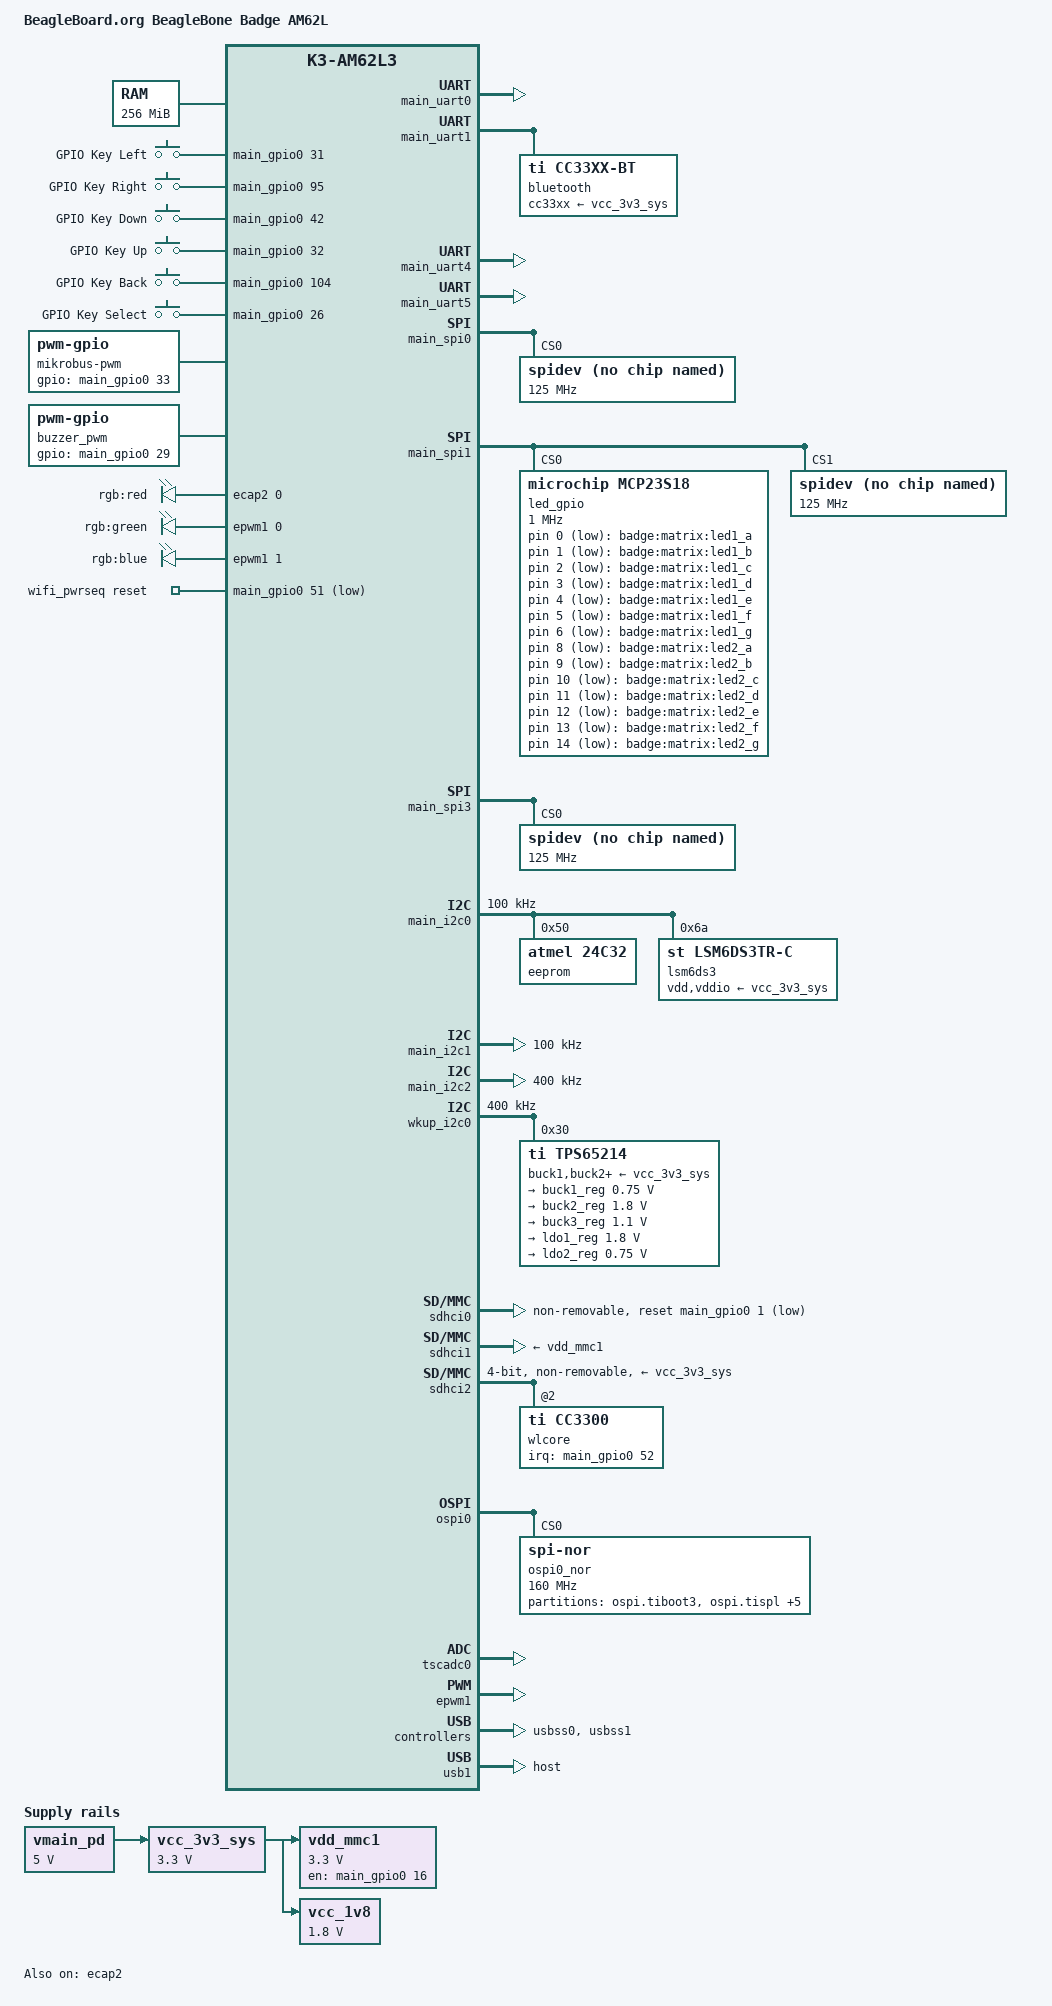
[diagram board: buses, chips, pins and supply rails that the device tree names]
// SPDX-License-Identifier: GPL-2.0-only or MIT
/*
 * Copyright (C) 2024 Texas Instruments Incorporated - https://www.ti.com/
 */

/dts-v1/;

#include <dt-bindings/gpio/gpio.h>
#include <dt-bindings/input/input.h>
#include <dt-bindings/leds/common.h>
#include <dt-bindings/net/ti-dp83867.h>
#include "k3-am62l3.dtsi"
#include "k3-pinctrl.h"

/ {
	compatible = "beagle,am62l3-beaglebadge", "ti,am62l3";
	model = "BeagleBoard.org BeagleBone Badge AM62L";

	aliases {
		mmc0 = &sdhci0;
		mmc1 = &sdhci1;
		mmc2 = &sdhci2;
		serial0 = &main_uart0;
		serial3 = &main_uart1;
		serial4 = &main_uart4;
		serial5 = &main_uart5;
	};

	chosen {
		stdout-path = &main_uart0;
	};

    memory@80000000 {
        reg = <0x00000000 0x80000000 0x00000000 0x10000000>;
		device_type = "memory";
		bootph-all;
	};

	led_matrix: led-matrix {
		compatible = "gpio-leds";

		led-1-a {
			label = "badge:matrix:led1_a";
			gpios = <&led_gpio 0 GPIO_ACTIVE_LOW>;
			default-state = "off";
		};

		led-1-b {
			label = "badge:matrix:led1_b";
			gpios = <&led_gpio 1 GPIO_ACTIVE_LOW>;
			default-state = "off";
		};

		led-1-c {
			label = "badge:matrix:led1_c";
			gpios = <&led_gpio 2 GPIO_ACTIVE_LOW>;
			default-state = "off";
		};

		led-1-d {
			label = "badge:matrix:led1_d";
			gpios = <&led_gpio 3 GPIO_ACTIVE_LOW>;
			default-state = "off";
		};

		led-1-e {
			label = "badge:matrix:led1_e";
			gpios = <&led_gpio 4 GPIO_ACTIVE_LOW>;
			default-state = "off";
		};

		led-1-f {
			label = "badge:matrix:led1_f";
			gpios = <&led_gpio 5 GPIO_ACTIVE_LOW>;
			default-state = "off";
		};

		led-1-g {
			label = "badge:matrix:led1_g";
			gpios = <&led_gpio 6 GPIO_ACTIVE_LOW>;
			default-state = "off";
		};

		led-2-a {
			label = "badge:matrix:led2_a";
			gpios = <&led_gpio 8 GPIO_ACTIVE_LOW>;
			default-state = "off";
		};

		led-2-b {
			label = "badge:matrix:led2_b";
			gpios = <&led_gpio 9 GPIO_ACTIVE_LOW>;
			default-state = "off";
		};

		led-2-c {
			label = "badge:matrix:led2_c";
			gpios = <&led_gpio 10 GPIO_ACTIVE_LOW>;
			default-state = "off";
		};

		led-2-d {
			label = "badge:matrix:led2_d";
			gpios = <&led_gpio 11 GPIO_ACTIVE_LOW>;
			default-state = "off";
		};

		led-2-e {
			label = "badge:matrix:led2_e";
			gpios = <&led_gpio 12 GPIO_ACTIVE_LOW>;
			default-state = "off";
		};

		led-2-f {
			label = "badge:matrix:led2_f";
			gpios = <&led_gpio 13 GPIO_ACTIVE_LOW>;
			default-state = "off";
		};

		led-2-g {
			label = "badge:matrix:led2_g";
			gpios = <&led_gpio 14 GPIO_ACTIVE_LOW>;
			default-state = "off";
		};
	};

	buttons {
		compatible = "gpio-keys";
		pinctrl-names = "default";
		pinctrl-0 = <&button_pins_default>;
        status = "okay";

		left {
			label = "GPIO Key Left";
			gpios = <&main_gpio0 31 0>;
			linux,code = <KEY_LEFT>;
		};

		right {
			label = "GPIO Key Right";
			gpios = <&main_gpio0 95 0>;
			linux,code = <KEY_RIGHT>;
		};

		down {
			label = "GPIO Key Down";
			gpios = <&main_gpio0 42 0>;
			linux,code = <KEY_DOWN>;
		};

		up {
			label = "GPIO Key Up";
			gpios = <&main_gpio0 32 0>;
			linux,code = <KEY_UP>;
		};

		back {
			label = "GPIO Key Back";
			gpios = <&main_gpio0 104 0>;
			linux,code = <KEY_BACK>;
		};

		select {
			label = "GPIO Key Select";
			gpios = <&main_gpio0 26 0>;
			linux,code = <KEY_SELECT>;
		};
	};

	mikrobus-pwm {
		#pwm-cells = <3>;
		compatible = "pwm-gpio";
		pinctrl-names = "default";
		pinctrl-0 = <&mikrobus_pwm_pins_default>;
		gpios = <&main_gpio0 33 GPIO_ACTIVE_HIGH>;
	};

	buzzer_pwm: buzzer-pwm {
		#pwm-cells = <3>;
		compatible = "pwm-gpio";
		pinctrl-names = "default";
		pinctrl-0 = <&buzzer_pins_default>;
		gpios = <&main_gpio0 29 GPIO_ACTIVE_HIGH>;
	};

	badge-buzzer {
        status = "disabled";
		compatible = "pwm-beeper";
		pwms = <&buzzer_pwm 0 50000 0>;
	};

    red-led {
        compatible = "pwm-leds";
        pinctrl-names = "default";
        pinctrl-0 = <&red_led_pins_default>;

        led-red {
            label = "rgb:red";
            pwms = <&ecap2 0 1000000 0>;
            max-brightness = <255>;
        };
    };

    green-led {
        compatible = "pwm-leds";
        pinctrl-names = "default";
        pinctrl-0 = <&green_led_pins_default>;

        led-green {
            label = "rgb:green";
            pwms = <&epwm1 0 1000000 0>;
            max-brightness = <255>;
        };
    };

    blue-led {
        compatible = "pwm-leds";
        pinctrl-names = "default";
        pinctrl-0 = <&blue_led_pins_default>;

        led-blue {
            label = "rgb:blue";
            pwms = <&epwm1 1 1000000 0>;
            max-brightness = <255>;
        };
    };

	vmain_pd: regulator-0 {
		/* TPS65988 PD CONTROLLER OUTPUT */
		bootph-all;
		compatible = "regulator-fixed";
		regulator-name = "vmain_pd";
		regulator-min-microvolt = <5000000>;
		regulator-max-microvolt = <5000000>;
		regulator-always-on;
		regulator-boot-on;
	};

	vcc_3v3_sys: regulator-1 {
		/* output of LM61460-Q1 */
		compatible = "regulator-fixed";
		regulator-name = "vcc_3v3_sys";
		regulator-min-microvolt = <3300000>;
		regulator-max-microvolt = <3300000>;
		vin-supply = <&vmain_pd>;
		regulator-always-on;
		regulator-boot-on;
	};

	vdd_mmc1: regulator-2 {
		/* TPS22918DBVR */
		bootph-all;
		compatible = "regulator-fixed";
		regulator-name = "vdd_mmc1";
		regulator-min-microvolt = <3300000>;
		regulator-max-microvolt = <3300000>;
		regulator-boot-on;
		enable-active-high;
		vin-supply = <&vcc_3v3_sys>;
		gpio = <&main_gpio0 16 GPIO_ACTIVE_HIGH>;
	};

	vcc_1v8: regulator-3 {
		/* output of TPS6282518DMQ */
		compatible = "regulator-fixed";
		regulator-name = "vcc_1v8";
		regulator-min-microvolt = <1800000>;
		regulator-max-microvolt = <1800000>;
		vin-supply = <&vcc_3v3_sys>;
		regulator-always-on;
		regulator-boot-on;
	};

	wifi_pwrseq: wifi-pwrseq {
		compatible = "mmc-pwrseq-simple";
		pinctrl-names = "default";
		pinctrl-0 = <&wkup_clkout_pins_default>, <&main_wlirq_pins_default>,
			<&wl_logger_pins_default>, <&wkup_ble_irq_pins_default>,
			<&wifi_en_pins_default>;
		reset-gpios = <&main_gpio0 51 GPIO_ACTIVE_LOW>;
		post-power-on-delay-ms = <500>;
		power-off-delay-us = <200>;
		clocks = <&scmi_clk 471>;
		clock-names = "ext_clock";
	};
};

&pmx0 {
	main_uart0_pins_default: main-uart0-default-pins {
		pinctrl-single,pins = <
			AM62LX_IOPAD(0x01b4, PIN_INPUT, 0)	/* (D13) UART0_RXD */
			AM62LX_IOPAD(0x01b8, PIN_OUTPUT, 0)	/* (C13) UART0_TXD */
		>;
		bootph-all;
	};

	main_uart1_pins_default: main-uart1-default-pins {
		pinctrl-single,pins = <
			AM62LX_IOPAD(0x0198, PIN_INPUT, 2)	/* (C11) UART1_RXD */
			AM62LX_IOPAD(0x019c, PIN_OUTPUT, 2)	/* (A12) UART1_TXD */
			AM62LX_IOPAD(0x0180, PIN_INPUT, 2)	/* (A8) UART1_CTSn */
			AM62LX_IOPAD(0x0184, PIN_OUTPUT, 2)	/* (B10) UART1_RTSn */
		>;
		bootph-all;
	};

	main_uart4_pins_default: main-uart4-default-pins {
		pinctrl-single,pins = <
			AM62LX_IOPAD(0x00a8, PIN_INPUT, 2)	/* (G23) UART4_RXD */
			AM62LX_IOPAD(0x00ac, PIN_OUTPUT, 2)	/* (G22) UART4_TXD */
		>;
		bootph-all;
	};

	main_uart5_pins_default: main-uart5-default-pins {
		pinctrl-single,pins = <
			AM62LX_IOPAD(0x01c4, PIN_INPUT, 1)	/* (B16) UART5_RXD */
			AM62LX_IOPAD(0x01c8, PIN_OUTPUT, 1)	/* (B15) UART5_TXD */
		>;
		bootph-all;
	};

	main_i2c0_pins_default: main-i2c0-default-pins {
		pinctrl-single,pins = <
			AM62LX_IOPAD(0x01cc, PIN_INPUT_PULLUP, 0) /* (B7) I2C0_SCL */
			AM62LX_IOPAD(0x01d0, PIN_INPUT_PULLUP, 0) /* (A7) I2C0_SDA */
		>;
		bootph-all;
	};

	main_i2c1_pins_default: main-i2c1-default-pins {
		pinctrl-single,pins = <
			AM62LX_IOPAD(0x01d4, PIN_INPUT_PULLUP, 0) /* (D7) I2C1_SCL */
			AM62LX_IOPAD(0x01d8, PIN_INPUT_PULLUP, 0) /* (A6) I2C1_SDA */
		>;
		bootph-all;
	};

	main_i2c2_pins_default: main-i2c2-default-pins {
		pinctrl-single,pins = <
			AM62LX_IOPAD(0x01dc, PIN_INPUT_PULLUP, 0) /* (B8) I2C2_SCL */
			AM62LX_IOPAD(0x01e0, PIN_INPUT_PULLUP, 0) /* (D8) I2C2_SDA */
		>;
	};

	ospi0_pins_default: ospi0-default-pins {
		bootph-all;
		pinctrl-single,pins = <
			AM62LX_IOPAD(0x003c, PIN_OUTPUT, 0) /* (D22) OSPI0_CLK */
			AM62LX_IOPAD(0x0068, PIN_OUTPUT, 0) /* (C20) OSPI0_CSn0 */
			AM62LX_IOPAD(0x0048, PIN_INPUT, 0) /* (C22) OSPI0_D0 */
			AM62LX_IOPAD(0x004c, PIN_INPUT, 0) /* (D21) OSPI0_D1 */
			AM62LX_IOPAD(0x0050, PIN_INPUT, 0) /* (E23) OSPI0_D2 */
			AM62LX_IOPAD(0x0054, PIN_INPUT, 0) /* (D23) OSPI0_D3 */
			AM62LX_IOPAD(0x0058, PIN_INPUT, 0) /* (F21) OSPI0_D4 */
			AM62LX_IOPAD(0x005c, PIN_INPUT, 0) /* (F19) OSPI0_D5 */
			AM62LX_IOPAD(0x0060, PIN_INPUT, 0) /* (G20) OSPI0_D6 */
			AM62LX_IOPAD(0x0064, PIN_INPUT, 0) /* (F20) OSPI0_D7 */
			AM62LX_IOPAD(0x0044, PIN_INPUT, 0) /* (E22) OSPI0_DQS */
		>;
	};

    ospi0_rst_pins_default: ospi0-rst-default-pins {
        pinctrl-single,pins = <
            AM62LX_IOPAD(0x006c, PIN_OUTPUT, 7) /* (D20) OSPI0_RSTn.GPIO0_12 */
        >;
    };

    ospi0_int_pins_default: ospi0-int-default-pins {
        pinctrl-single,pins = <
            AM62LX_IOPAD(0x0070, PIN_INPUT, 7) /* (D18) OSPI0_INTn.GPIO0_13 */
        >;
    };

	main_spi0_pins_default: main-spi0-default-pins {
		pinctrl-single,pins = <
			AM62LX_IOPAD(0x01a8, PIN_OUTPUT, 0) /* (E13) SPI0_CLK */
			AM62LX_IOPAD(0x01b0, PIN_OUTPUT, 0) /* (B12) SPI0_D1 */
			AM62LX_IOPAD(0x01a0, PIN_OUTPUT, 0) /* (E11) SPI0_CS0 */
		>;
	};

    main_spi0_other_pins: main-spi0-other-pins {
        pinctrl-single,pins = <
			AM62LX_IOPAD(0x01ac, PIN_OUTPUT, 7) /* (E12) D/C#.GPIO0_90 */
			AM62LX_IOPAD(0x00dc, PIN_OUTPUT, 7) /* (N21) BUSY.GPIO0_39 */
			AM62LX_IOPAD(0x009c, PIN_OUTPUT, 7) /* (H20) RES#.GPIO0_24 */
        >;
    };

	main_spi1_pins_default: main-spi1-default-pins {
		pinctrl-single,pins = <
			AM62LX_IOPAD(0x008c, PIN_OUTPUT, 4) /* (H22) SPI1_CLK */
			AM62LX_IOPAD(0x0080, PIN_OUTPUT, 4) /* (K22) SPI1_D0 */
			AM62LX_IOPAD(0x0084, PIN_OUTPUT, 4) /* (J23) SPI1_D1 */
			AM62LX_IOPAD(0x0088, PIN_OUTPUT, 4) /* (K23) SPI1_CS0 */
			AM62LX_IOPAD(0x0094, PIN_OUTPUT, 4) /* (J22) SPI1_CS1 */
		>;
	};

	main_spi3_pins_default: main-spi3-default-pins {
		pinctrl-single,pins = <
			AM62LX_IOPAD(0x00d0, PIN_OUTPUT, 5) /* (P22) SPI3_CLK */
			AM62LX_IOPAD(0x00d4, PIN_INPUT, 5) /* (N23) SPI3_D0 */
			AM62LX_IOPAD(0x00d8, PIN_OUTPUT, 5) /* (N22) SPI3_D1 */
			AM62LX_IOPAD(0x00cc, PIN_OUTPUT, 5) /* (P23) SPI3_CS0 */
		>;
	};

    lora_pins_default: lora-default-pins {
        pinctrl-single,pins = <
            AM62LX_IOPAD(0x00e4, PIN_OUTPUT, 7) /* (L20) RF_SW1.GPIO0_41  */
            AM62LX_IOPAD(0x00c8, PIN_OUTPUT, 7) /* (M19) NRST.GPIO0_34    */
            AM62LX_IOPAD(0x01a4, PIN_INPUT, 7)  /* (D11) BUSY.GPIO0_88    */
            AM62LX_IOPAD(0x01bc, PIN_INPUT, 7)  /* (B14) DIO.GPIO0_94     */
        >;
    };

	usr_led_pins_default: usr-led-default-pins {
		pinctrl-single,pins = <
			AM62LX_IOPAD(0x0238, PIN_OUTPUT, 7) /* (D24) MMC1_SDWP.GPIO0_123 */
		>;
	};

    button_pins_default: button-default-pins {
        pinctrl-single,pins = <
            AM62LX_IOPAD(0x00b8, PIN_INPUT, 7) /* (L21) Left.GPIO0_31   */
            AM62LX_IOPAD(0x01c0, PIN_INPUT, 7) /* (B13) Right.GPIO0_95  */
            AM62LX_IOPAD(0x00e8, PIN_INPUT, 7) /* (L19) Down.GPIO0_42   */
            AM62LX_IOPAD(0x00c0, PIN_INPUT, 7) /* (N19) Up.GPIO0_32     */
            AM62LX_IOPAD(0x01e4, PIN_INPUT, 7) /* (D16) Back.GPIO0_104  */
            AM62LX_IOPAD(0x00a4, PIN_INPUT, 7) /* (H18) Select.GPIO0_26 */
        >;
    };

    buzzer_pins_default: buzzer-default-pins {
        pinctrl-single,pins = <
            AM62LX_IOPAD(0x00b0, PIN_OUTPUT, 7) /* (F22) Buzzer_PWM.GPIO0_29  */
        >;
    };

    mikrobus_pwm_pins_default: mikrobus-pwm-default-pins {
        pinctrl-single,pins = <
            AM62LX_IOPAD(0x00c4, PIN_OUTPUT, 7) /* (N20) Mikrobus_PWM.GPIO0_33  */
        >;
    };

    mikrobus_rst_pins_default: mikrobus-rst-default-pins {
        pinctrl-single,pins = <
			AM62LX_IOPAD(0x0194, PIN_OUTPUT, 7) /* (B11) Mikrobus_RST.RST */
        >;
    };
    red_led_pins_default: red-led-default-pins {
        pinctrl-single,pins = <
            AM62LX_IOPAD(0x0190, PIN_OUTPUT, 2) /* (A11) RED.GPIO0_83   */
        >;
    };

    green_led_pins_default: green-led-default-pins {
        pinctrl-single,pins = <
            AM62LX_IOPAD(0x0188, PIN_OUTPUT, 5) /* (A9)  GREEN.GPIO0_81 */
        >;
    };

    blue_led_pins_default: blue-led-default-pins {
        pinctrl-single,pins = <
            AM62LX_IOPAD(0x018c, PIN_OUTPUT, 5) /* (B9)  BLUE.GPIO0_82  */
        >;
    };

	main_mmc0_pins_default: main-mmc0-default-pins {
		pinctrl-single,pins = <
			AM62LX_IOPAD(0x0214, PIN_INPUT, 0) /* (D2) MMC0_CMD */
			AM62LX_IOPAD(0x020c, PIN_OUTPUT, 0) /* (B2) MMC0_CLK */
			AM62LX_IOPAD(0x0208, PIN_INPUT, 0) /* (D3) MMC0_DAT0 */
			AM62LX_IOPAD(0x0204, PIN_INPUT_PULLUP, 0) /* (D4) MMC0_DAT1 */
			AM62LX_IOPAD(0x0200, PIN_INPUT_PULLUP, 0) /* (C1) MMC0_DAT2 */
			AM62LX_IOPAD(0x01fc, PIN_INPUT_PULLUP, 0) /* (C2) MMC0_DAT3 */
			AM62LX_IOPAD(0x01f8, PIN_INPUT_PULLUP, 0) /* (C4) MMC0_DAT4 */
			AM62LX_IOPAD(0x01f4, PIN_INPUT_PULLUP, 0) /* (B3) MMC0_DAT5 */
			AM62LX_IOPAD(0x01f0, PIN_INPUT_PULLUP, 0) /* (A3) MMC0_DAT6 */
			AM62LX_IOPAD(0x01ec, PIN_INPUT_PULLUP, 0) /* (B4) MMC0_DAT7 */
		>;
		bootph-all;
	};

	main_mmc0_rst_pins_default: main-mmc0-rst-pins-default {
		pinctrl-single,pins = <
			AM62LX_IOPAD(0x0040, PIN_OUTPUT, 7) /* (E18) OSPI0_LBCLKO.GPIO0_1 */
		>;
		bootph-all;
	};

	main_mmc1_pins_default: main-mmc1-default-pins {
		pinctrl-single,pins = <
			AM62LX_IOPAD(0x0230, PIN_INPUT, 0) /* (Y3) MMC1_CMD */
			AM62LX_IOPAD(0x0228, PIN_OUTPUT, 0) /* (Y2) MMC1_CLK */
			AM62LX_IOPAD(0x0224, PIN_INPUT, 0) /* (AA1) MMC1_DAT0 */
			AM62LX_IOPAD(0x0220, PIN_INPUT, 0) /* (Y4) MMC1_DAT1 */
			AM62LX_IOPAD(0x021c, PIN_INPUT, 0) /* (AA2) MMC1_DAT2 */
			AM62LX_IOPAD(0x0218, PIN_INPUT, 0) /* (AB2) MMC1_DAT3 */
			AM62LX_IOPAD(0x0234, PIN_INPUT, 0) /* (B6) MMC1_SDCD */
		>;
		bootph-all;
	};

    main_mmc1_ldd_pins_default: main-mmc1-ldd-pins-default {
        pinctrl-single,pins = <
            AM62LX_IOPAD(0x007c, PIN_OUTPUT, 7) /* (LDD) MMC1_LDD */
        >;
		bootph-all;
    };

	main_mmc2_pins_default: main-mmc2-default-pins {
		pinctrl-single,pins = <
			AM62LX_IOPAD(0x010c, PIN_INPUT_PULLUP, 0)  /* (U23) MMC2_CMD */
			AM62LX_IOPAD(0x0104, PIN_OUTPUT, 0) /* (R23) MMC2_CLK */
			AM62LX_IOPAD(0x0108, PIN_INPUT, 0) /* () MMC2_CLKLB */
			AM62LX_IOPAD(0x0100, PIN_INPUT_PULLUP, 0)  /* (U22) MMC2_DAT0 */
			AM62LX_IOPAD(0x00fc, PIN_INPUT_PULLUP, 0)  /* (T22) MMC2_DAT1 */
			AM62LX_IOPAD(0x00f8, PIN_INPUT_PULLUP, 0)  /* (T23) MMC2_DAT2 */
			AM62LX_IOPAD(0x00f4, PIN_INPUT_PULLUP, 0)  /* (R22) MMC2_DAT3 */
		>;
	};

    wifi_en_pins_default: wifi-en-default-pins {
        pinctrl-single,pins = <
            AM62LX_IOPAD(0x0110, PIN_OUTPUT, 7) /* (T20) WIFI_EN.GPIO0_51 */
        >;
    };

	main_wlirq_pins_default: main-wlirq-pins-default {
		pinctrl-single,pins = <
			AM62LX_IOPAD(0x0114, PIN_INPUT_PULLDOWN, 7)    /* (T21) IRQ_WL.GPIO0_52 */
		>;
	};

	wl_logger_pins_default: wl-logger-default-pins {
		pinctrl-single,pins = <
			AM62LX_IOPAD(0x0074, PIN_INPUT, 7) /* (C23) OSPI0_CSn3.GPIO0_14 */
		>;
	};

	wkup_ble_irq_pins_default: wkup-ble-irq-default-pins {
		pinctrl-single,pins = <
			AM62LX_IOPAD(0x0008, PIN_INPUT_PULLDOWN, 7) /* WKUP_GPIO0_2 */
		>;
	};

    wkup_clkout_pins_default: wkup-clkout-default-pins {
        pinctrl-single,pins = <
            AM62LX_IOPAD(0x0018, PIN_OUTPUT, 0) /* (Y23) WKUP_CLKOUT */
        >;
    };
    
	others_gpio_pins_default: others-gpio-default-pins {
		pinctrl-single,pins = <
			AM62LX_IOPAD(0x0138, PIN_OUTPUT, 7) /* (Y8) RGMII1_RD0 */
			AM62LX_IOPAD(0x013c, PIN_OUTPUT, 7) /* (AA6) RGMII1_RD1 */
			AM62LX_IOPAD(0x0140, PIN_OUTPUT, 7) /* (AA8) RGMII1_RD2 */
			AM62LX_IOPAD(0x0144, PIN_OUTPUT, 7) /* (W8) RGMII1_RD3 */
			AM62LX_IOPAD(0x0134, PIN_OUTPUT, 7) /* (Y7) RGMII1_RXC */
			AM62LX_IOPAD(0x0130, PIN_OUTPUT, 7) /* (Y6) RGMII1_RX_CTL */
			AM62LX_IOPAD(0x0120, PIN_OUTPUT, 7) /* (AC10) RGMII1_TD0 */
			AM62LX_IOPAD(0x0124, PIN_OUTPUT, 7) /* (W13) RGMII1_TD1 */
			AM62LX_IOPAD(0x0128, PIN_OUTPUT, 7) /* (Y11) RGMII1_TD2 */
			AM62LX_IOPAD(0x012c, PIN_OUTPUT, 7) /* (AA11) RGMII1_TD3 */
			AM62LX_IOPAD(0x011c, PIN_OUTPUT, 7) /* (W11) RGMII1_TXC */
			AM62LX_IOPAD(0x0118, PIN_OUTPUT, 7) /* (AB11) RGMII1_TX_CTL */

			AM62LX_IOPAD(0x0170, PIN_OUTPUT, 7) /* (AB9) RGMII2_RD0 */
			AM62LX_IOPAD(0x0174, PIN_OUTPUT, 7) /* (AC9) RGMII2_RD1 */
			AM62LX_IOPAD(0x0178, PIN_OUTPUT, 7) /* (AB10) RGMII2_RD2 */
			AM62LX_IOPAD(0x017c, PIN_OUTPUT, 7) /* (AB8) RGMII2_RD3 */
			AM62LX_IOPAD(0x016c, PIN_OUTPUT, 7) /* (AC7) RGMII2_RXC */
			AM62LX_IOPAD(0x0168, PIN_OUTPUT, 7) /* (AC8) RGMII2_RX_CTL */
			AM62LX_IOPAD(0x0158, PIN_OUTPUT, 7) /* (AC12) RGMII2_TD0 */
			AM62LX_IOPAD(0x015c, PIN_OUTPUT, 7) /* (AB13) RGMII2_TD1 */
			AM62LX_IOPAD(0x0160, PIN_OUTPUT, 7) /* (AA12) RGMII2_TD2 */
			AM62LX_IOPAD(0x0164, PIN_OUTPUT, 7) /* (AA13) RGMII2_TD3 */
			AM62LX_IOPAD(0x0154, PIN_OUTPUT, 7) /* (Y13) RGMII2_TXC */
			AM62LX_IOPAD(0x0150, PIN_OUTPUT, 7) /* (AB12) RGMII2_TX_CTL */
			AM62LX_IOPAD(0x014c, PIN_OUTPUT, 7) /* (AC15) MDIO0_MDC */
			AM62LX_IOPAD(0x0148, PIN_OUTPUT, 7) /* (AC13) MDIO0_MDIO */
		>;
	};

	main_usb1_default_pins: main-usb1-default-pins {
		pinctrl-single,pins = <
			AM62LX_IOPAD(0x0248, PIN_INPUT | PIN_DS_PULLUD_ENABLE | PIN_DS_PULL_UP, 0) /* (A5) USB1_DRVVBUS */
		>;
	};

	pmic_irq_pins_default: pmic-irq-default-pins {
		pinctrl-single,pins = <
			AM62LX_IOPAD(0x01e8, PIN_INPUT, 0) /* (C8) EXTINTn */
		>;
	};

	wkup_i2c0_pins_default: wkup-i2c0-default-pins {
		pinctrl-single,pins = <
			AM62LX_IOPAD(0x0010, PIN_INPUT_PULLUP, 0) /* (AB22) WKUP_I2C0_SCL */
			AM62LX_IOPAD(0x0014, PIN_INPUT_PULLUP, 0) /* (AA22) WKUP_I2C0_SDA */
		>;
	};

    wkup_gpio0_pins_default: wkup-gpio0-default-pins {
        pinctrl-single,pins = <
            AM62LX_IOPAD(0x0004, PIN_OUTPUT, 7) /* (AA23) WKUP_GPIO0_1 */
        >;
	};
};

&main_uart0 {
	pinctrl-names = "default";
	pinctrl-0 = <&main_uart0_pins_default>;
	status = "okay";
	bootph-all;
};

&main_uart1 {
	pinctrl-names = "default";
	pinctrl-0 = <&main_uart1_pins_default>;
	status = "okay";
	bootph-all;

	bluetooth {
		compatible = "ti,cc33xx-bt";
		cc33xx-supply = <&vcc_3v3_sys>;
		max-speed = <115200>;
	};
};

&main_uart4 {
	pinctrl-names = "default";
	pinctrl-0 = <&main_uart4_pins_default>;
	status = "okay";
	bootph-all;
};

&main_uart5 {
	symlink = "badge/mikrobus/uart";
	pinctrl-names = "default";
	pinctrl-0 = <&main_uart5_pins_default>;
	status = "okay";
	bootph-all;
};

&main_spi0 {
    pinctrl-names = "default";
    pinctrl-0 = <&main_spi0_pins_default>;
    status = "okay";
	#address-cells = <1>;
	#size-cells = <0>;

    /*
     * TODO: ePaper Conn
     */
    spidev@0 {
        compatible = "rohm,dh2228fv";
        reg = <0>;
        #address-cells = <1>;
        #size-cells = <0>;
        spi-max-frequency = <125000000>;
        symlink = "spi/0.0";
        status = "okay";
    };
};

&main_spi1 {
    pinctrl-names = "default";
    pinctrl-0 = <&main_spi1_pins_default>;
    status = "okay";
    #address-cells = <1>;
    #size-cells = <0>;
    ti,spi-num-cs = <2>;
    ti,pindir-d1-out-d0-in;

    led_gpio: led-gpio@0 {
        compatible = "microchip,mcp23s18";
        reg = <0>;
        gpio-controller;
        #gpio-cells = <2>;
        spi-max-frequency = <1000000>;
        microchip,spi-present-mask = <1>;
        gpio-line-names =
            "LED_1_A", "LED_1_B", "LED_1_C", "LED_1_D", /* 0-3 */
            "LED_1_E", "LED_1_F", "LED_1_G", "",        /* 4-7 */
            "LED_2_A", "LED_2_B", "LED_2_C", "LED_2_D", /* 8-11 */
            "LED_2_E", "LED_2_F", "LED_2_G", "";        /* 12-15 */
    };

    spidev@1 {
        compatible = "rohm,dh2228fv";
        reg = <1>;
        spi-max-frequency = <125000000>;
        symlink = "spi/1.1";
        status = "okay";
    };
};

&main_spi3 {
    pinctrl-names = "default";
    pinctrl-0 = <&main_spi3_pins_default>;
    status = "okay";
	#address-cells = <1>;
	#size-cells = <0>;
	ti,spi-num-cs = <1>;
    ti,pindir-d1-out-d0-in;

    spidev@0 {
        compatible = "rohm,dh2228fv";
        reg = <0>;
        #address-cells = <1>;
        #size-cells = <0>;
        spi-max-frequency = <125000000>;
        symlink = "spi/3.0";
        status = "okay";
    };
};

&main_i2c0 {
	status = "okay";
	pinctrl-names = "default";
	pinctrl-0 = <&main_i2c0_pins_default>;
	clock-frequency = <100000>;
	bootph-all;

    /*
     * TODO: Fuel Gauge, TH Sensor no linux driver support
     */
    eeprom@50 {
        compatible = "atmel,24c32";
        reg = <0x50>;
    };

	lsm6ds3@6a {
		compatible = "st,lsm6ds3tr-c";
		reg = <0x6a>;
        vdd-supply = <&vcc_3v3_sys>;
        vddio-supply = <&vcc_3v3_sys>;
	};
};

&main_i2c1 {
	symlink = "badge/quiic/i2c1", "badge/mikrobus/i2c", "badge/dsi/i2c";
	status = "okay";
	pinctrl-names = "default";
	pinctrl-0 = <&main_i2c1_pins_default>;
	clock-frequency = <100000>;
	bootph-all;
};

&main_i2c2 {
	symlink = "badge/quiic/i2c2";
	status = "okay";
	pinctrl-names = "default";
	pinctrl-0 = <&main_i2c2_pins_default>;
	clock-frequency = <400000>;
};

&wkup_i2c0 {
	clock-frequency = <400000>;
	pinctrl-names = "default";
	pinctrl-0 = <&wkup_i2c0_pins_default>;
	status = "okay";

	tps65214: pmic@30 {
		compatible = "ti,tps65214";
		reg = <0x30>;
		interrupt-parent = <&gic500>;
		interrupts = <GIC_SPI 224 IRQ_TYPE_LEVEL_HIGH>;
		pinctrl-0 = <&pmic_irq_pins_default>;
		ti,power-button;

		buck1-supply = <&vcc_3v3_sys>;
		buck2-supply = <&vcc_3v3_sys>;
		buck3-supply = <&vcc_3v3_sys>;
		ldo1-supply = <&vcc_3v3_sys>;
		ldo2-supply = <&vcc_3v3_sys>;

		regulators {
			buck1_reg: buck1 {
				regulator-name = "VDD_CORE";
				regulator-min-microvolt = <750000>;
				regulator-max-microvolt = <750000>;
				regulator-always-on;
				regulator-boot-on;
			};

			buck2_reg: buck2 {
				regulator-name = "DVDD_1V8";
				regulator-min-microvolt = <1800000>;
				regulator-max-microvolt = <1800000>;
				regulator-always-on;
				regulator-boot-on;
			};

			buck3_reg: buck3 {
				regulator-name = "VDD_LPDDR4";
				regulator-min-microvolt = <1100000>;
				regulator-max-microvolt = <1100000>;
				regulator-always-on;
				regulator-boot-on;
			};

			ldo1_reg: ldo1 {
				regulator-name = "VDD_1V8";
				regulator-min-microvolt = <1800000>;
				regulator-max-microvolt = <1800000>;
				regulator-always-on;
				regulator-boot-on;
			};

			ldo2_reg: ldo2 {
				regulator-name = "VDDA_V75";
				regulator-min-microvolt = <750000>;
				regulator-max-microvolt = <750000>;
				regulator-always-on;
				regulator-boot-on;
			};
		};
	};
};

&main_gpio0 {
	status = "okay";
	bootph-all;
	pinctrl-names = "default";
	pinctrl-0 = <&others_gpio_pins_default>, <&lora_pins_default>, <&main_spi0_other_pins>, <&mikrobus_rst_pins_default>;
};

&main_gpio2 {
	status = "okay";
	bootph-all;
};

&wkup_gpio0 {
    status = "okay";
    bootph-all;
	pinctrl-names = "default";
	pinctrl-0 = <&wkup_gpio0_pins_default>;
};

&sdhci0 {
	/* eMMC */
	non-removable;
	pinctrl-names = "default";
	pinctrl-0 = <&main_mmc0_pins_default>, <&main_mmc0_rst_pins_default>;
	reset-gpios = <&main_gpio0 1 GPIO_ACTIVE_LOW>;
	status = "okay";
	bootph-all;
};

&sdhci1 {
	/* SD/MMC */
	vmmc-supply = <&vdd_mmc1>;
	pinctrl-names = "default";
	pinctrl-0 = <&main_mmc1_pins_default>, <&main_mmc1_ldd_pins_default>;
	status = "okay";
	bootph-all;
	disable-wp;
};

&sdhci2 {
	compatible = "ti,j721e-sdhci-4bit";
	bootph-all;
	vmmc-supply = <&vcc_3v3_sys>;
	vqmmc-supply = <&vcc_1v8>;
	mmc-pwrseq = <&wifi_pwrseq>;
	pinctrl-names = "default";
	pinctrl-0 = <&main_mmc2_pins_default>;
	bus-width = <4>;
	non-removable;
	ti,fails-without-test-cd;
	cap-power-off-card;
	keep-power-in-suspend;
	ti,driver-strength-ohm = <50>;

	assigned-clocks = <&scmi_clk 471>;
	assigned-clock-parents = <&scmi_clk 468>;
	assigned-clock-rates = <32768>;

	#address-cells = <1>;
	#size-cells = <0>;
	status = "okay";

	wlcore: wlcore@2 {
		compatible = "ti,cc3300";
		reg = <2>;
		interrupt-parent = <&main_gpio0>;
		interrupts = <52 IRQ_TYPE_EDGE_RISING>;
	};
};

&ospi0 {
	bootph-all;
	status = "okay";
	pinctrl-names = "default";
	pinctrl-0 = <&ospi0_pins_default>, <&ospi0_rst_pins_default>, <&ospi0_int_pins_default>;

	ospi0_nor: flash@0 {
		bootph-all;
		compatible = "jedec,spi-nor", "is25wx25";
		reg = <0x0>;
		spi-tx-bus-width = <8>;
		spi-rx-bus-width = <8>;
		spi-max-frequency = <160000000>;
		cdns,tshsl-ns = <60>;
		cdns,tsd2d-ns = <60>;
		cdns,tchsh-ns = <60>;
		cdns,tslch-ns = <60>;
		cdns,read-delay = <3>;

		partitions {
			bootph-all;
			compatible = "fixed-partitions";
			#address-cells = <1>;
			#size-cells = <1>;

			partition@0 {
				label = "ospi.tiboot3";
				reg = <0x0 0x80000>;
			};

			partition@80000 {
				label = "ospi.tispl";
				reg = <0x80000 0x200000>;
			};

			partition@280000 {
				label = "ospi.u-boot";
				reg = <0x280000 0x400000>;
			};

			partition@680000 {
				label = "ospi.env";
				reg = <0x680000 0x40000>;
			};

			partition@6c0000 {
				label = "ospi.env.backup";
				reg = <0x6c0000 0x40000>;
			};

            partition@700000 {
                label = "ospi.rootfs";
                reg = <0x700000 0x18c0000>;
            };

            partition@1fc0000 {
                bootph-all;
                label = "ospi.phypattern";
                reg = <0x1fc0000 0x40000>;
            };
        };
    };
};

&tscadc0 {
	status = "okay";

	adc {
		ti,adc-channels = <0 1 2 3>;
	};
};

&cpsw3g {
    status = "disabled";
};

&epwm1 {
	status = "okay";
};

&ecap2 {
    status = "okay";
};

&usbss0 {
	status = "okay";
	ti,vbus-divider;
};

&usb0 {
	usb-role-switch;
};

&usbss1 {
	status = "okay";
	ti,vbus-divider;
};

&usb1 {
	dr_mode = "host";
	pinctrl-names = "default";
	pinctrl-0 = <&main_usb1_default_pins>;
};
